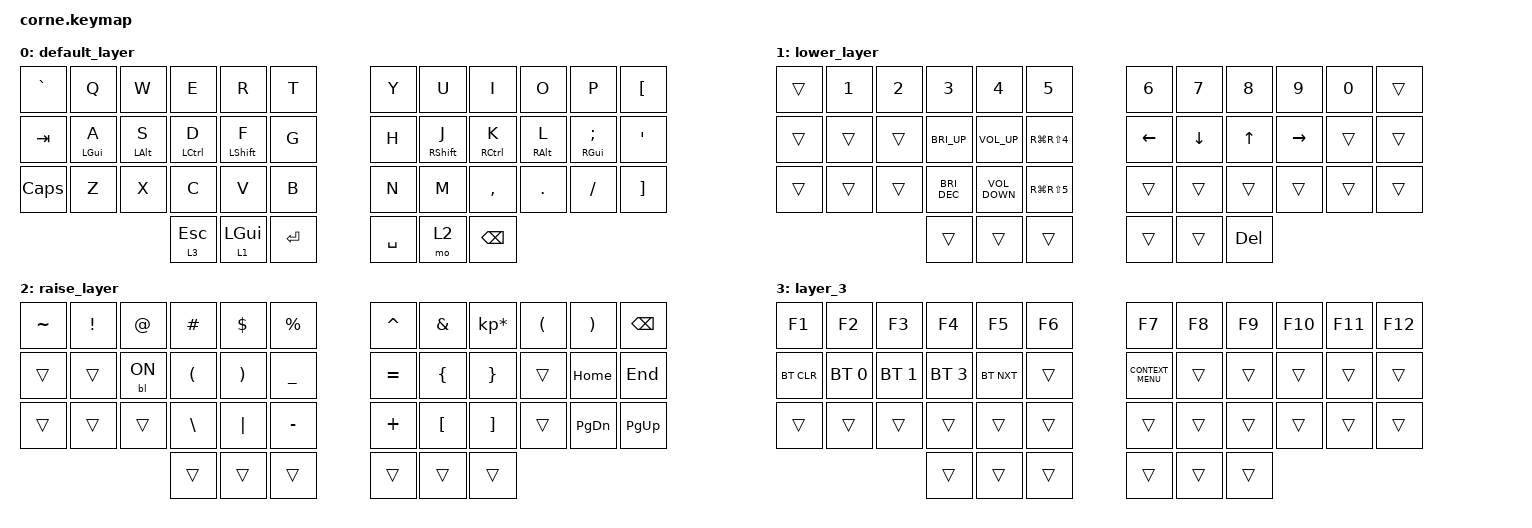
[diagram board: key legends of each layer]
/*
 * Copyright (c) 2020 The ZMK Contributors
 *
 * SPDX-License-Identifier: MIT
 */

#include <behaviors.dtsi>
#include <dt-bindings/zmk/backlight.h>
#include <dt-bindings/zmk/bt.h>
#include <dt-bindings/zmk/keys.h>

/ {
    behaviors {
        hml: hml {
            compatible = "zmk,behavior-hold-tap";
            label = "HML";
            bindings = <&kp>, <&kp>;

            #binding-cells = <2>;
            tapping-term-ms = <175>;
            hold-trigger-on-release;
            flavor = "balanced";
            hold-trigger-key-positions = <6 7 8 9 10 11 18 19 20 21 22 23 30 31 32 33 34 35 39 40 41 38 37 36>;
        };

        hmr: hmr {
            compatible = "zmk,behavior-hold-tap";
            label = "HMR";
            bindings = <&kp>, <&kp>;

            #binding-cells = <2>;
            tapping-term-ms = <175>;
            hold-trigger-on-release;
            flavor = "balanced";
            hold-trigger-key-positions = <0 1 2 3 4 5 12 13 14 15 16 17 24 25 26 27 28 29 36 37 38 41 40 39>;
        };
    };

    combos {
        compatible = "zmk,combos";

        search {
            bindings = <&kp LG(SPACE)>;
            key-positions = <0 11>;
        };
    };

    keymap {
        compatible = "zmk,keymap";

        default_layer {
            // -----------------------------------------------------------------------------------------
            // |  TAB |  Q  |  W  |  E  |  R  |  T  |   |  Y  |  U   |  I  |  O  |  P  | BKSP |
            // | CTRL |  A  |  S  |  D  |  F  |  G  |   |  H  |  J   |  K  |  L  |  ;  |  '   |
            // | SHFT |  Z  |  X  |  C  |  V  |  B  |   |  N  |  M   |  ,  |  .  |  /  | ESC  |
            //                    | GUI | LWR | SPC |   | ENT | RSE  | ALT |

            bindings = <
&kp GRAVE  &kp Q            &kp W            &kp E         &kp R              &kp T         &kp Y      &kp U               &kp I          &kp O             &kp P                     &kp LEFT_BRACKET
&kp TAB    &hmr LEFT_GUI A  &hmr LEFT_ALT S  &hmr LCTRL D  &hmr LEFT_SHIFT F  &kp G         &kp H      &hml RIGHT_SHIFT J  &hml RCTRL K   &hml RIGHT_ALT L  &hml RIGHT_GUI SEMICOLON  &kp SQT
&kp CAPS   &kp Z            &kp X            &kp C         &kp V              &kp B         &kp N      &kp M               &kp COMMA      &kp DOT           &kp FSLH                  &kp RIGHT_BRACKET
                                             &lt 3 ESCAPE  &lt 1 LEFT_GUI     &kp RETURN    &kp SPACE  &mo 2               &kp BACKSPACE
            >;
        };

        lower_layer {
            // -----------------------------------------------------------------------------------------
            // |  TAB |  1  |  2  |  3  |  4  |  5  |   |  6  |  7  |  8  |  9  |  0  | BKSP |
            // | BTCLR| BT1 | BT2 | BT3 | BT4 | BT5 |   | LFT | DWN |  UP | RGT |     |      |
            // | SHFT |     |     |     |     |     |   |     |     |     |     |     |      |
            //                    | GUI |     | SPC |   | ENT |     | ALT |

            bindings = <
&trans  &kp N1  &kp N2  &kp N3         &kp N4             &kp N5                  &kp N6    &kp N7    &kp N8      &kp N9     &kp N0  &trans
&trans  &trans  &trans  &kp C_BRI_UP   &kp C_VOLUME_UP    &kp RG(RS(NUMBER_4))    &kp LEFT  &kp DOWN  &kp UP      &kp RIGHT  &trans  &trans
&trans  &trans  &trans  &kp C_BRI_DEC  &kp C_VOLUME_DOWN  &kp RG(RS(N5))          &trans    &trans    &trans      &trans     &trans  &trans
                        &trans         &trans             &trans                  &trans    &trans    &kp DELETE
            >;
        };

        raise_layer {
            // -----------------------------------------------------------------------------------------
            // |  TAB |  !  |  @  |  #  |  $  |  %  |   |  ^  |  &  |  *  |  (  |  )  | BKSP |
            // | CTRL |     |     |     |     |     |   |  -  |  =  |  [  |  ]  |  \  |  `   |
            // | SHFT |     |     |     |     |     |   |  _  |  +  |  {  |  }  | "|" |  ~   |
            //                    | GUI |     | SPC |   | ENT |     | ALT |

            bindings = <
&kp TILDE  &kp EXCL  &kp AT     &kp HASH              &kp DLLR               &kp PRCNT         &kp CARET  &kp AMPS          &kp KP_MULTIPLY    &kp LPAR  &kp RPAR       &kp BSPC
&trans     &trans    &bl BL_ON  &kp LEFT_PARENTHESIS  &kp RIGHT_PARENTHESIS  &kp UNDERSCORE    &kp EQUAL  &kp LEFT_BRACE    &kp RIGHT_BRACE    &trans    &kp HOME       &kp END
&trans     &trans    &trans     &kp BACKSLASH         &kp PIPE               &kp MINUS         &kp PLUS   &kp LEFT_BRACKET  &kp RIGHT_BRACKET  &trans    &kp PAGE_DOWN  &kp PAGE_UP
                                &trans                &trans                 &trans            &trans     &trans            &trans
            >;
        };

        layer_3 {
            bindings = <
&kp F1      &kp F2        &kp F3        &kp F4        &kp F5      &kp F6    &kp F7              &kp F8  &kp F9  &kp F10  &kp F11  &kp F12
&bt BT_CLR  &bt BT_SEL 0  &bt BT_SEL 1  &bt BT_SEL 3  &bt BT_NXT  &trans    &kp K_CONTEXT_MENU  &trans  &trans  &trans   &trans   &trans
&trans      &trans        &trans        &trans        &trans      &trans    &trans              &trans  &trans  &trans   &trans   &trans
                                        &trans        &trans      &trans    &trans              &trans  &trans
            >;
        };
    };
};
